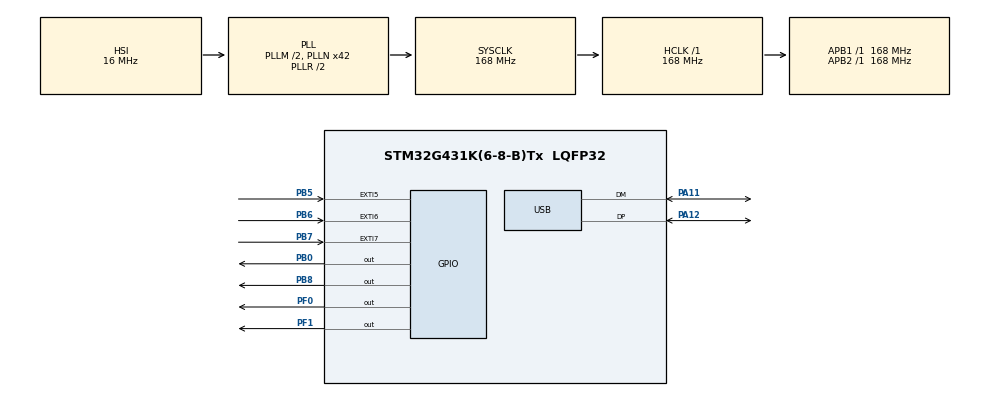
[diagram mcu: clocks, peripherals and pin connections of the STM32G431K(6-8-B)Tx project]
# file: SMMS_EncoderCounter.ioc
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Mcu.Family=STM32G4
PB7.GPIO_PuPd=GPIO_PULLUP
USB_DEVICE.CLASS_NAME_FS=CDC
RCC.CortexFreq_Value=168000000
TIM3.AutoReloadPreload=TIM_AUTORELOAD_PRELOAD_DISABLE
USB_DEVICE.VirtualModeFS=Cdc_FS
PA11.Mode=Device
RCC.EXTERNAL_CLOCK_VALUE=12288000
RCC.SYSCLKSource=RCC_SYSCLKSOURCE_PLLCLK
ProjectManager.StackSize=0x400
PA13.Signal=SYS_JTMS-SWDIO
PA12.Signal=USB_DP
ProjectManager.TargetToolchain=STM32CubeIDE
RCC.HCLKFreq_Value=168000000
VP_USB_DEVICE_VS_USB_DEVICE_CDC_FS.Mode=CDC_FS
RCC.APB2TimFreq_Value=168000000
PB6.Signal=GPXTI6
RCC.USBFreq_Value=48000000
RCC.LSE_VALUE=32768
RCC.AHBFreq_Value=168000000
RCC.HSE_VALUE=8000000
PB3.Mode=Trace_Asynchronous_SW
PB8-BOOT0.Signal=GPIO_Output
board=custom
RCC.VCOOutputFreq_Value=336000000
RCC.ADC12Freq_Value=168000000
NVIC.TIM3_IRQn=true\:0\:0\:false\:false\:true\:true\:true
RCC.APB2Freq_Value=168000000
PA14.Mode=Trace_Asynchronous_SW
TIM3.Prescaler=16799
VP_SYS_VS_DBSignals.Mode=DisableDeadBatterySignals
PB7.Signal=GPXTI7
PA13.Mode=Trace_Asynchronous_SW
Mcu.Name=STM32G431K(6-8-B)Tx
PB3.Signal=SYS_JTDO-SWO
RCC.SYSCLKFreq_VALUE=168000000
Mcu.Package=LQFP32
PB5.Signal=GPXTI5
PA12.Mode=Device
PA11.Signal=USB_DM
NVIC.EXTI9_5_IRQn=true\:0\:0\:false\:false\:true\:true\:true
PA14.Signal=SYS_JTCK-SWCLK
ProjectManager.HeapSize=0x200
TIM3.PeriodNoDither=44
NVIC.USB_LP_IRQn=true\:0\:0\:false\:false\:true\:false\:true
RCC.HSI_VALUE=16000000
NVIC.PriorityGroup=NVIC_PRIORITYGROUP_4
RCC.PLLM=RCC_PLLM_DIV2
RCC.PLLN=42
RCC.APB1TimFreq_Value=168000000
RCC.CK48CLockSelection=RCC_USBCLKSOURCE_HSI48
PF0-OSC_IN.Signal=GPIO_Output
TIM3.TIM_MasterOutputTrigger=TIM_TRGO_UPDATE
RCC.APB1Freq_Value=168000000
PB0.Signal=GPIO_Output
USB_DEVICE.VirtualMode=Cdc
VP_TIM3_VS_ClockSourceINT.Mode=Internal
PF1-OSC_OUT.Signal=GPIO_Output
RCC.HSI48_VALUE=48000000

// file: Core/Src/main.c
/* USER CODE BEGIN Header */
/**
 ******************************************************************************
 * @file           : main.c
 * @brief          : Main program body
 ******************************************************************************
 * @attention
 *
 * <h2><center>&copy; Copyright (c) 2020 STMicroelectronics.
 * All rights reserved.</center></h2>
 *
 * This software component is licensed by ST under BSD 3-Clause license,
 * the "License"; You may not use this file except in compliance with the
 * License. You may obtain a copy of the License at:
 *                        opensource.org/licenses/BSD-3-Clause
 *
 ******************************************************************************
 */
/* USER CODE END Header */
#include "main.h"
#include "tim.h"
#include "usb_device.h"
#include "gpio.h"

/* USER CODE BEGIN Includes */
#include <stdio.h>
#include <stdbool.h>
#include <string.h>
/* USER CODE END Includes */

/* USER CODE BEGIN PTD */
typedef struct _paramType
{
	uint32_t encoderPulseCount;
	float wheelRadius;
	float targetDistance;
} __attribute__((aligned(1), packed)) WheelParam;
/* USER CODE END PTD */

/* USER CODE BEGIN PD */
//Setting var at page 63
#define BACKUP_FLASH_ADDR 0x0801F800

#define TARGET_PULSE_NUMBER           1

#define DIVISOR                       1

/* USER CODE END PD */

/* USER CODE BEGIN PV */
int A_PLS_CNT = 0;
int B_PLS_CNT = 0;

bool bFlag = false;
uint8_t xFlag = 0;
uint8_t lineFlag = 0;
extern char rxbuf[200];
char txbuf[300];

/* USER CODE END PV */

void SystemClock_Config(void);

/* USER CODE BEGIN 0 */
void HAL_GPIO_EXTI_Callback(uint16_t GPIO_Pin)
{
	switch (GPIO_Pin)
	{
	case GPIO_PIN_5:
		HAL_GPIO_TogglePin(GPIOF, GPIO_PIN_0);
		if (bFlag)
		{
			A_PLS_CNT++;
		}
		break;
	case GPIO_PIN_6:
		HAL_GPIO_TogglePin(GPIOF, GPIO_PIN_1);
		if (bFlag)
		{
			B_PLS_CNT++;
		}
		break;
	case GPIO_PIN_7:
		HAL_GPIO_TogglePin(GPIOB, GPIO_PIN_8);
		//HAL_GPIO_WritePin(GPIOB,GPIO_PIN_0,SET);
		//bFlag = true;
		break;
	}
	//HAL_GPIO_WritePin(GPIOB,GPIO_PIN_0,RESET);
}

float diameter(float radius)
{
	return (2 * 3.1415 * radius);
}

float rotationForShoot(float targetDistance, float wheelDiameter)
{
	return (targetDistance / wheelDiameter);
}

int targetPulseCount(float rotationCount, int encoderPulseCnt)
{
	return (int) ((((rotationCount * encoderPulseCnt) / TARGET_PULSE_NUMBER)
			/ DIVISOR));
}

void SaveWheelParam(WheelParam *wP)
{
	HAL_FLASH_Unlock();
	{
		FLASH_EraseInitTypeDef fler;
		uint32_t perr;
		fler.TypeErase = FLASH_TYPEERASE_PAGES;
		fler.Banks = 1;
		fler.Page = 63;
		fler.NbPages = 1;
		HAL_FLASHEx_Erase(&fler, &perr);
		register uint64_t *_targetAddr = (uint64_t*) (wP);
		for (uint8_t i = 0; i <= (sizeof(WheelParam) * 2); i +=
				sizeof(uint64_t))
		{
			HAL_FLASH_Program(FLASH_TYPEPROGRAM_DOUBLEWORD,
			BACKUP_FLASH_ADDR + i, _targetAddr[i / sizeof(uint64_t)]);
		}
	}
	HAL_FLASH_Lock();
}

/* USER CODE END 0 */

int main(void)
{
	/* USER CODE BEGIN 1 */
	char buf[150];
	WheelParam wP;

	//At 1st, memcpy from backup addr

	memcpy(&wP, (void*) (BACKUP_FLASH_ADDR), sizeof(WheelParam));

	//2nd, compare memory
	/*if (wP.encoderPulseCount == 0xFFFFFFFF)
	 {
	 //if flash not initialized, set value to default
	 wP.encoderPulseCount = 2000;
	 wP.targetDistance = 5.0;
	 wP.wheelRadius = 0.324;
	 SaveWheelParam(&wP);
	 }*/

	int encoderTargetCount = -1;
	/* USER CODE END 1 */

	/* MCU Configuration--------------------------------------------------------*/

	/* Reset of all peripherals, Initializes the Flash interface and the Systick. */
	HAL_Init();

	/* Configure the system clock */
	SystemClock_Config();

	/* Initialize all configured peripherals */
	MX_GPIO_Init();
	MX_TIM3_Init();
	MX_USB_Device_Init();
	/* USER CODE BEGIN 2 */
	LL_TIM_EnableIT_UPDATE(TIM3);
	/* USER CODE END 2 */

	/* Infinite loop */
	/* USER CODE BEGIN WHILE */
	HAL_Delay(100);
	encoderTargetCount = targetPulseCount(
			rotationForShoot(wP.targetDistance, diameter(wP.wheelRadius)),
			wP.encoderPulseCount);
	xFlag = 0;
	while (1)
	{
		switch (xFlag)
		{
		case 1:	//set wheel param
			CDC_Transmit_FS("Input wheel radius.. > ", 23);
			while (!lineFlag)
				;
			lineFlag = 0;
			wP.wheelRadius = atof(rxbuf);
			encoderTargetCount = targetPulseCount(
					rotationForShoot(wP.targetDistance,
							diameter(wP.wheelRadius)), wP.encoderPulseCount);
			xFlag = 0;
			break;
		case 2:	//set encoder pulse count;
			CDC_Transmit_FS("Input encoder pulse cnt.. > ", 28);
			while (!lineFlag)
				;
			lineFlag = 0;
			wP.encoderPulseCount = atoi(rxbuf);
			if (wP.encoderPulseCount == 0)
			{
				break;
			}
			encoderTargetCount = targetPulseCount(
					rotationForShoot(wP.targetDistance,
							diameter(wP.wheelRadius)), wP.encoderPulseCount);
			xFlag = 0;
			break;
		case 3:	//set trigger distance
			CDC_Transmit_FS("Input trigger distance(m) > ", 28);
			while (!lineFlag)
				;
			lineFlag = 0;
			wP.targetDistance = atof(rxbuf);
			encoderTargetCount = targetPulseCount(
					rotationForShoot(wP.targetDistance,
							diameter(wP.wheelRadius)), wP.encoderPulseCount);
			xFlag = 0;
			break;
		case 4:
			sprintf(txbuf, "EncoderPulseCnt= %lu\r\n"
					"Wheel Radius= %0.5f\r\n"
					"Trigger Distance= %0.2f\r\n"
					"Target pulse count= %d\r\n"
					"Auto triggering= %s\r\n", wP.encoderPulseCount,
					wP.wheelRadius, wP.targetDistance, encoderTargetCount,
					(bFlag == true) ? ("Started") : ("Disabled"));
			CDC_Transmit_FS(txbuf, strlen(txbuf));
			xFlag = 0;
			break;
		case 5:
			CDC_Transmit_FS("Saving current param...\r\n", 25);
			SaveWheelParam(&wP);
			xFlag = 0;
			break;
		default:
			xFlag = 0;
		}
		/* USER CODE END WHILE */

		/* USER CODE BEGIN 3 */
		if (bFlag && A_PLS_CNT >= encoderTargetCount)
		{
			A_PLS_CNT = 0;
			B_PLS_CNT = 0;
			HAL_GPIO_WritePin(GPIOB, GPIO_PIN_0, SET);
			LL_TIM_ClearFlag_UPDATE(TIM3);
			LL_TIM_EnableCounter(TIM3);
			char __buf = 0xEE;
			//CDC_Transmit_FS(&__buf, 1);
		}
	}
	/* USER CODE END 3 */
}

void SystemClock_Config(void)
{
	RCC_OscInitTypeDef RCC_OscInitStruct =
	{ 0 };
	RCC_ClkInitTypeDef RCC_ClkInitStruct =
	{ 0 };
	RCC_PeriphCLKInitTypeDef PeriphClkInit =
	{ 0 };

	/** Configure the main internal regulator output voltage
	 */
	HAL_PWREx_ControlVoltageScaling(PWR_REGULATOR_VOLTAGE_SCALE1_BOOST);
	/** Initializes the RCC Oscillators according to the specified parameters
	 * in the RCC_OscInitTypeDef structure.
	 */
	RCC_OscInitStruct.OscillatorType = RCC_OSCILLATORTYPE_HSI
			| RCC_OSCILLATORTYPE_HSI48;
	RCC_OscInitStruct.HSIState = RCC_HSI_ON;
	RCC_OscInitStruct.HSICalibrationValue = RCC_HSICALIBRATION_DEFAULT;
	RCC_OscInitStruct.HSI48State = RCC_HSI48_ON;
	RCC_OscInitStruct.PLL.PLLState = RCC_PLL_ON;
	RCC_OscInitStruct.PLL.PLLSource = RCC_PLLSOURCE_HSI;
	RCC_OscInitStruct.PLL.PLLM = RCC_PLLM_DIV2;
	RCC_OscInitStruct.PLL.PLLN = 42;
	RCC_OscInitStruct.PLL.PLLP = RCC_PLLP_DIV2;
	RCC_OscInitStruct.PLL.PLLQ = RCC_PLLQ_DIV2;
	RCC_OscInitStruct.PLL.PLLR = RCC_PLLR_DIV2;
	if (HAL_RCC_OscConfig(&RCC_OscInitStruct) != HAL_OK)
	{
		Error_Handler();
	}
	/** Initializes the CPU, AHB and APB buses clocks
	 */
	RCC_ClkInitStruct.ClockType = RCC_CLOCKTYPE_HCLK | RCC_CLOCKTYPE_SYSCLK
			| RCC_CLOCKTYPE_PCLK1 | RCC_CLOCKTYPE_PCLK2;
	RCC_ClkInitStruct.SYSCLKSource = RCC_SYSCLKSOURCE_PLLCLK;
	RCC_ClkInitStruct.AHBCLKDivider = RCC_SYSCLK_DIV1;
	RCC_ClkInitStruct.APB1CLKDivider = RCC_HCLK_DIV1;
	RCC_ClkInitStruct.APB2CLKDivider = RCC_HCLK_DIV1;

	if (HAL_RCC_ClockConfig(&RCC_ClkInitStruct, FLASH_LATENCY_4) != HAL_OK)
	{
		Error_Handler();
	}
	/** Initializes the peripherals clocks
	 */
	PeriphClkInit.PeriphClockSelection = RCC_PERIPHCLK_USB;
	PeriphClkInit.UsbClockSelection = RCC_USBCLKSOURCE_HSI48;
	if (HAL_RCCEx_PeriphCLKConfig(&PeriphClkInit) != HAL_OK)
	{
		Error_Handler();
	}
}

void Error_Handler(void)
{
}

/************************ (C) COPYRIGHT STMicroelectronics *****END OF FILE****/
